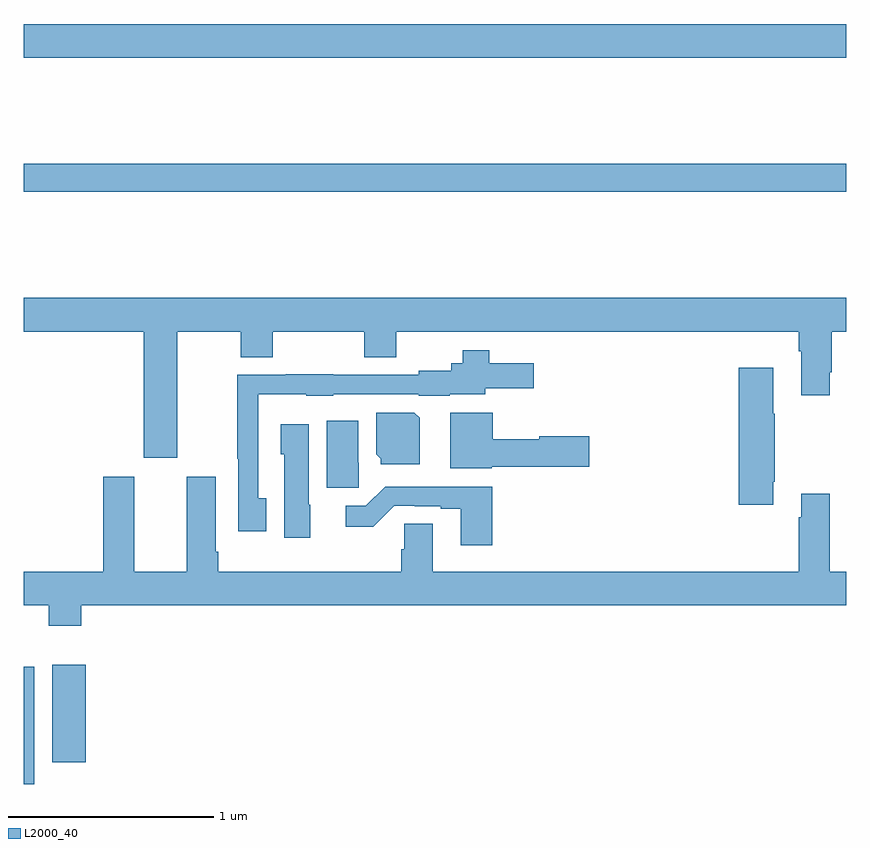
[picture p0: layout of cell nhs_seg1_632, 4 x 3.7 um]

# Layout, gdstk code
import gdstk
lib = gdstk.Library(unit=1e-6, precision=1e-09)
def R(c, l, rs):  # rectangles x0, y0, x1, y1
    for r in rs: c.add(gdstk.rectangle(r[:2], r[2:], *l))
def P(c, l, *ps):  # polygons
    for p in ps: c.add(gdstk.Polygon(p, *l))
L2000_40 = (2000, 40)

nhs_seg1_632 = lib.new_cell('nhs_seg1_632')
R(nhs_seg1_632, L2000_40, [(145,548.199,145.05,548.77), (145.139,548.304,145.3,548.779), (145,551.08,149,551.216), (145,551.732,149,551.896)])
P(nhs_seg1_632, L2000_40, [(145.747,550.4),(146.056,550.4),(146.056,550.276),(146.211,550.276),(146.211,550.4),(146.656,550.4),(146.656,550.276),(146.811,550.276),(146.811,550.4),(148.769,550.4),(148.769,550.304),(148.781,550.304),(148.781,550.089),(148.921,550.089),(148.921,550.201),(148.929,550.201),(148.929,550.4),(149,550.4),(149,550.564),(145,550.564),(145,550.4),(145.583,550.4),(145.583,549.786),(145.747,549.786)],
  [(146.179,549.59),(146.139,549.59),(146.139,550.094),(146.373,550.094),(146.373,550.088),(146.505,550.088),(146.505,550.095),(146.922,550.095),(146.922,550.088),(147.072,550.088),(147.072,550.094),(147.244,550.094),(147.244,550.124),(147.481,550.124),(147.481,550.246),(147.263,550.246),(147.263,550.309),(147.135,550.309),(147.135,550.246),(147.08,550.246),(147.08,550.21),(146.922,550.21),(146.922,550.191),(146.505,550.191),(146.505,550.193),(146.273,550.193),(146.273,550.191),(146.038,550.191),(146.038,549.781),(146.043,549.781),(146.043,549.429),(146.179,549.429)],
  [(148.645,549.67),(148.653,549.67),(148.653,550.001),(148.645,550.001),(148.645,550.225),(148.478,550.225),(148.478,549.558),(148.645,549.558)],
  [(146.926,549.98),(146.9,550.006),(146.714,550.006),(146.714,549.802),(146.736,549.78),(146.736,549.755),(146.926,549.755)],
  [(147.276,549.743),(147.751,549.743),(147.751,549.89),(147.507,549.89),(147.507,549.877),(147.28,549.877),(147.28,550.004),(147.074,550.004),(147.074,549.734),(147.276,549.734)],
  [(146.63,549.762),(146.626,549.762),(146.626,549.967),(146.474,549.967),(146.474,549.639),(146.63,549.639)],
  [(146.392,549.558),(146.386,549.558),(146.386,549.949),(146.249,549.949),(146.249,549.804),(146.267,549.804),(146.267,549.396),(146.392,549.396)],
  [(145,549.068),(145.12,549.068),(145.12,548.969),(145.28,548.969),(145.28,549.068),(149,549.068),(149,549.232),(148.921,549.232),(148.921,549.61),(148.781,549.61),(148.781,549.497),(148.769,549.497),(148.769,549.232),(146.989,549.232),(146.989,549.464),(146.85,549.464),(146.85,549.342),(146.837,549.342),(146.837,549.232),(145.946,549.232),(145.946,549.328),(145.933,549.328),(145.933,549.694),(145.793,549.694),(145.793,549.232),(145.537,549.232),(145.537,549.694),(145.385,549.694),(145.385,549.232),(145,549.232)],
  [(147.278,549.646),(146.758,549.646),(146.664,549.552),(146.565,549.552),(146.565,549.45),(146.7,549.45),(146.802,549.552),(146.902,549.552),(146.902,549.549),(147.029,549.549),(147.029,549.537),(147.125,549.537),(147.125,549.36),(147.278,549.36)])

lib.write_gds('nhs_seg1_632.gds')
